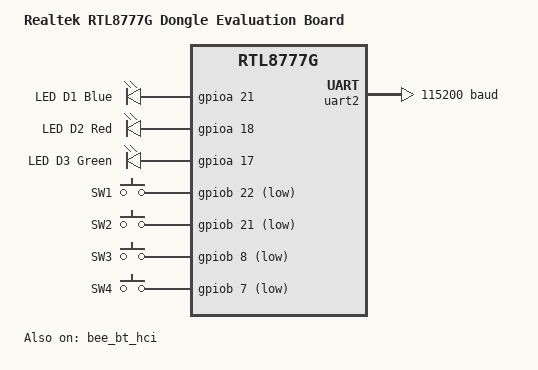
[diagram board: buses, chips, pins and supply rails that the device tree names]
/*
 * Copyright (c) 2026, Realtek Semiconductor Corporation
 *
 * SPDX-License-Identifier: Apache-2.0
 */

/dts-v1/;
#include <realtek/bee/rtl8777gkf_va5.dtsi>
#include <zephyr/dt-bindings/input/input-event-codes.h>
#include "rtl8777g_evb-pinctrl.dtsi"

/ {
	model = "Realtek RTL8777G Dongle Evaluation Board";
	compatible = "realtek,rtl8777g_evb";

	chosen {
		zephyr,sram = &tcm0;
		zephyr,flash = &flash;
		zephyr,code-partition = &app_partition;
		zephyr,itcm = &tcm1;
		zephyr,console = &uart2;
		zephyr,shell-uart = &uart2;
		zephyr,bt-hci = &bee_bt_hci;
	};

	aliases {
		led0 = &led0;
		sw0 = &button0;
		sw1 = &button1;
		sw2 = &button2;
		sw3 = &button3;
	};

	leds {
		compatible = "gpio-leds";

		led0: led0 {
			gpios = <&gpioa 21 GPIO_ACTIVE_HIGH>;
			label = "LED D1 Blue";
		};

		led1: led1 {
			gpios = <&gpioa 18 GPIO_ACTIVE_HIGH>;
			label = "LED D2 Red";
		};

		led2: led2 {
			gpios = <&gpioa 17 GPIO_ACTIVE_HIGH>;
			label = "LED D3 Green";
		};
	};


	buttons {
		compatible = "gpio-keys";
		status = "okay";

		button0: button_0 {
			gpios = <&gpiob 22 (GPIO_PULL_UP | GPIO_ACTIVE_LOW)>;
			label = "SW1";
			zephyr,code = <INPUT_KEY_0>;
		};

		button1: button_1 {
			gpios = <&gpiob 21 (GPIO_PULL_UP | GPIO_ACTIVE_LOW)>;
			label = "SW2";
			zephyr,code = <INPUT_KEY_1>;
		};

		button2: button_2 {
			gpios = <&gpiob 8 (GPIO_PULL_UP | GPIO_ACTIVE_LOW)>;
			label = "SW3";
			zephyr,code = <INPUT_KEY_2>;
		};

		button3: button_3 {
			gpios = <&gpiob 7 (GPIO_PULL_UP | GPIO_ACTIVE_LOW)>;
			label = "SW4";
			zephyr,code = <INPUT_KEY_3>;
		};
	};

};

&gpioa {
	pinctrl-0 = <&gpioa_default>;
	pinctrl-names = "default";
	status = "okay";
};

&gpiob {
	pinctrl-0 = <&gpiob_default>;
	pinctrl-names = "default";
	status = "okay";
};

&uart2 {
	pinctrl-0 = <&uart2_default>;
	pinctrl-names = "default";
	status = "okay";
	current-speed = <115200>;
	parity = "none";
	stop-bits = "1";
	data-bits = <8>;
};

&cpu {
	clock-frequency = <40000000>;
};

&bee_bt_hci {
	status = "okay";
};

&flash {
	partitions {
		/* 0x402d000-0x4400000: Free space for Zephyr */
		app_partition: partition@2d000 {
			compatible = "zephyr,mapped-partition";
			label = "app-image";
			reg = <0x2d000 DT_SIZE_K(3900)>;
		};

		storage_partition: partition@3fc000 {
			compatible = "zephyr,mapped-partition";
			label = "storage";
			reg = <0x3fc000 DT_SIZE_K(16)>;
		};
	};
};
